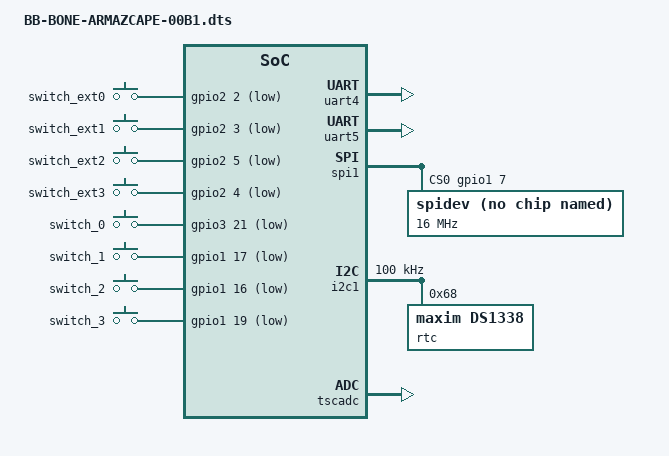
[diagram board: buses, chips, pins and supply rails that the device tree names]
/dts-v1/;
/plugin/;

/ {
    compatible = "ti,beaglebone", "ti,beaglebone-black";

    /* identification */
    part-number = "BB-BONE-ARMAZCAPE";
    version = "00B1";

    /* state the resources this cape uses or prepare to get winged! */
    exclusive-use =
        /* the pin header P8 uses   */
        "P8.7", /* SWITCH_EXT0        */
        "P8.8", /* SWITCH_EXT1        */
        "P8.9", /* SWITCH_EXT2        */
        "P8.10", /* SWITCH_EXT3        */
        "P8.37", /* UART5_TXD           */
        "P8.38", /* UART5_RXD           */
        /* the pin header P9 uses   */
        "P9.11", /* UART4_RXD           */
        "P9.15", /* SWITCH_2           */
        "P9.16", /* SWITCH_3           */
        "P9.19", /* I2C2_SDA            */
        "P9.20", /* I2C2_SCL            */
        "P9.23", /* SWITCH_1           */
        "P9.25", /* SWITCH_0           */
        "P9.28", /* SPI1_CS0           */
        "P9.29", /* SPI1_MISO           */
        "P9.30", /* SPI1_MOSI           */
        "P9.31", /* SPI1_SCLK           */
        "P9.37", /* TERM_EXT2           */
        "P9.39", /* TERM_EXT0           */
        "P9.40", /* TERM_EXT1           */
        "P9.42", /* SPI1_CS1           */
        /* the hardware IP uses     */
        "i2c2", "spi1", "uart4", "uart5", "tscadc";

    fragment@0 {
        target = <&am33xx_pinmux>;
        __overlay__ {
            switch_pins: pinmux_switch_pins {
                pinctrl-single,pins = <
                    // GPIO Settings
                    // 6            5               4           3                   2,1,0
                    // Slew ctl     Receiver active Pullup/down Enable pullup/down  Mux mode
                    // 0 Fast       0 Disable       0 Pulldown  0 Enabled           000 for mode 0
                    // 1 Slow       1 Enable        1 Pullup    1 Disabled          111 for mode 7
                    //
                    // OUTPUT GPIO(mode 7)  0X07 pulldown, 0x17 pullup, 0x?f no pullup/down
                    // INPUT GPIO(mode 7)   0X27 pulldown, 0x37 pullup, 0x?f no pullup/down

                    0x090 0x27          // P8_7 = SWITCH_EXT0 = GPIO1_6
                    0x094 0x27          // P8_8 = SWITCH_EXT1 = GPIO1_7
                    0x09C 0x27          // P8_9 = SWITCH_EXT2 = GPIO0_2
                    0x098 0x27          // P8_10 = SWITCH_EXT3 = GPIO0_3
                    0x040 0x27          // P9_15 = SWITCH_0 = GPIO1_16
                    0x04C 0x27          // P9_16 = SWITCH_1 = GPIO1_19
                    0x044 0x27          // P9_23 = SWITCH_2 = GPIO1_17
                    0x1AC 0x27          // P9_25 = SWITCH_3 = GPIO1_21
                >;
            };
            bb_uart4_pins: pinmux_bb_uart4_pins {
                pinctrl-single,pins = <
                    0x070 0x36          // P9_11 = UART4_RXD.uart4_rxd | MODE6
                >;
            };
            bb_uart5_pins: pinmux_bb_uart5_pins {
                pinctrl-single,pins = <
                    0x0C0 0x14          // P8_37 = UART5_TXD.uart5_txd | MODE4
                    0x0C4 0x34          // P8_38 = UART5_RXD.uart5_rxd | MODE4
                >;
            };
            bb_i2c2_pins: pinmux_bb_i2c2_pins {
                pinctrl-single,pins = <
                    0x178 0x73          // P9.19 = i2c2_sda | MODE3 INPUT_PULLUP 
                    0x17c 0x73          // P9.20 = i2c2_scl | MODE3 INPUT_PULLUP
                >;
            };
            bb_spi1_pins: pinmux_spi1_pins {
                pinctrl-single,pins = <
                    0x190 0x13          // P9_31 = SPI1_SCLK.spi1_sclk | MODE3 | OUTPUT_PULLUP
                    0x194 0x33          // P9_29 = SPI1_MISO.spi1_d0 | MODE3 | INPUT_PULLUP
                    0x198 0x13          // P9_30 = SPI1_MOSI.spi1_d1 | MODE3 | OUTPUT_PULLUP
                    0x19C 0x13          // P9_28 = SPI1_CS0.spi1_cs0 | MODE3 | OUTPUT_PULLUP
                    0x164 0x12          // P9_42 = GPIO0_7.spi1_cs1 | MODE2 | OUTPUT_PULLUP
                >;
            };
        };
    };

    fragment@1 {
        target = <&uart4>;
        __overlay__ {
            status = "okay";
            pinctrl-names = "default";
            pinctrl-0 = <&bb_uart4_pins>;
        };
    };

    fragment@2 {
        target = <&uart5>;
        __overlay__ {
            status = "okay";
            pinctrl-names = "default";
            pinctrl-0 = <&bb_uart5_pins>;
        };
    };

    fragment@3 {
        target = <&spi1>;
        __overlay__ {
            #address-cells = <1>;
            #size-cells = <0>;
            status = "okay";
            pinctrl-names = "default";
            pinctrl-0 = <&bb_spi1_pins>;
            cs-gpios = <&gpio1 7 0
                        &gpio4 17 0>;

            spidev@0 {
                #address-cells = <1>;
                #size-cells = <0>;
                compatible = "linux,spidev";
                reg = <0>;
                spi-max-frequency = <16000000>;
            };
        };
    };


    fragment@4 {
        target = <&i2c1>;
        __overlay__ {

            pinctrl-names = "default";
            pinctrl-0 = <&bb_i2c2_pins>;

            status = "okay";
            clock-frequency = <100000>;

            /* shut up DTC warnings */
            #address-cells = <1>;
            #size-cells = <0>;

            /* MCP79410 RTC module */
            rtc@68 {
                compatible = "maxim,ds1338";
                reg = <0x68>;
            };
        };
    };

    fragment@5 {
        target = <&baseboard_beaglebone_black>;
        __overlay__ {
            #address-cells = <1>;
            #size-cells = <1>;

            gpio_keys {
                compatible = "gpio-keys";
                pinctrl-names = "default";
                pinctrl-0 = <&switch_pins>;
                #address-cells = <1>;
                #size-cells = <0>;

                switch_ext0 {
                    label = "switch_ext0";
                    debounce_interval = <50>;
                    linux,code = <112>;
                    gpios = <&gpio2 2 0x5>;
                    gpio-key,wakeup;
                };
                switch_ext1 {
                    label = "switch_ext1";
                    debounce_interval = <50>;
                    linux,code = <113>;
                    gpios = <&gpio2 3 0x5>;
                    gpio-key,wakeup;
                };
                switch_ext2 {
                    label = "switch_ext2";
                    debounce_interval = <50>;
                    linux,code = <114>;
                    gpios = <&gpio2 5 0x5>;
                    gpio-key,wakeup;
                };
                switch_ext3 {
                    label = "switch_ext3";
                    debounce_interval = <50>;
                    linux,code = <115>;
                    gpios = <&gpio2 4 0x5>;
                    gpio-key,wakeup;
                };

                switch_0 {
                    label = "switch_0";
                    debounce_interval = <50>;
                    linux,code = <90>;
                    gpios = <&gpio3 21 0x5>;
                    gpio-key,wakeup;
                };
                switch_1 {
                    label = "switch_1";
                    debounce_interval = <50>;
                    linux,code = <91>;
                    gpios = <&gpio1 17 0x5>;
                    gpio-key,wakeup;
                };
                switch_2 {
                    label = "switch_2";
                    debounce_interval = <50>;
                    linux,code = <92>;
                    gpios = <&gpio1 16 0x5>;
                    gpio-key,wakeup;
                };
                switch_3 {
                    label = "switch_3";
                    debounce_interval = <50>;
                    linux,code = <94>;
                    gpios = <&gpio1 19 0x5>;
                    gpio-key,wakeup;
                };
            };
        };
    };

    fragment@6 {
        target = <&tscadc>;
        __overlay__ {
            tscadc {
                status = "okay";

                adc {
                    ti,adc-channels = <0 1 2>;
                };
            };
        };
    };
};
